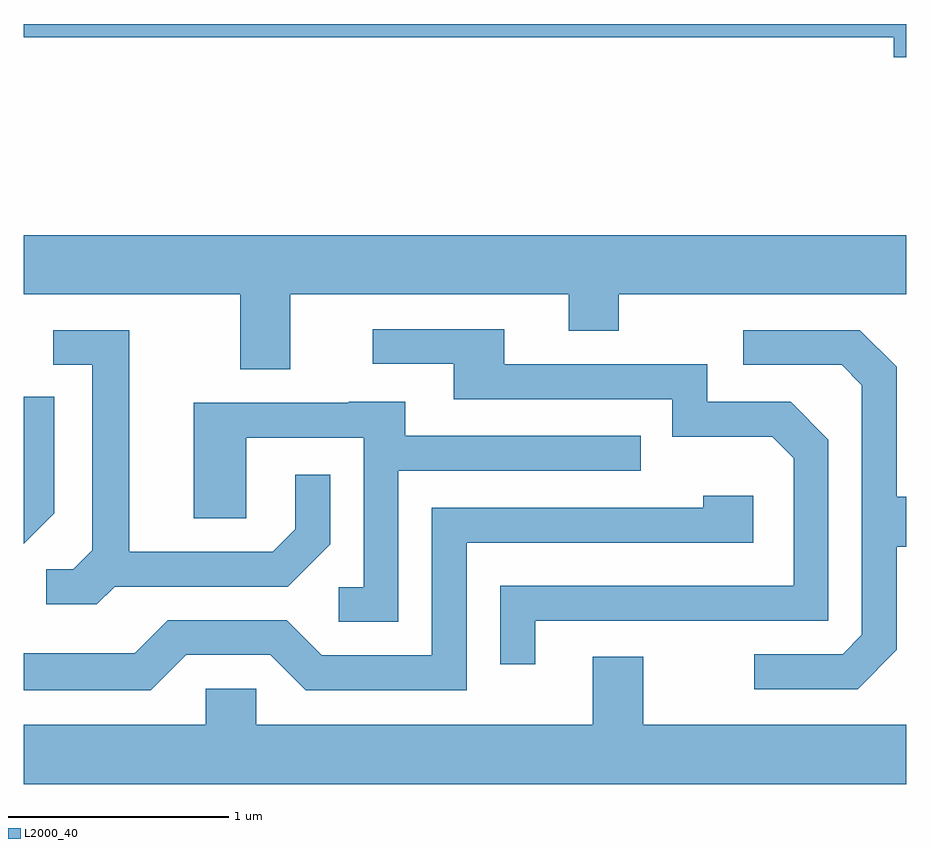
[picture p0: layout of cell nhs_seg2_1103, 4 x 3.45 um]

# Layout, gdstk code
import gdstk
lib = gdstk.Library(unit=1e-6, precision=1e-09)
def P(c, l, *ps):  # polygons
    for p in ps: c.add(gdstk.Polygon(p, *l))
L2000_40 = (2000, 40)

nhs_seg2_1103 = lib.new_cell('nhs_seg2_1103')
P(nhs_seg2_1103, L2000_40, [(221.611,1011.802),(217.611,1011.802),(217.611,1011.741),(221.556,1011.741),(221.556,1011.651),(221.611,1011.651)],
  [(218.819,1010.576),(220.081,1010.576),(220.081,1010.411),(220.309,1010.411),(220.309,1010.576),(221.611,1010.576),(221.611,1010.844),(217.611,1010.844),(217.611,1010.576),(218.591,1010.576),(218.591,1010.236),(218.819,1010.236)],
  [(219.929,1009.096),(221.259,1009.096),(221.259,1009.917),(221.087,1010.089),(220.709,1010.089),(220.709,1010.259),(219.789,1010.259),(219.789,1010.419),(219.193,1010.419),(219.193,1010.261),(219.561,1010.261),(219.561,1010.101),(220.551,1010.101),(220.551,1009.931),(221.004,1009.931),(221.101,1009.834),(221.101,1009.254),(219.771,1009.254),(219.771,1008.898),(219.929,1008.898)],
  [(221.569,1008.964),(221.569,1009.431),(221.611,1009.431),(221.611,1009.659),(221.569,1009.659),(221.569,1010.247),(221.402,1010.414),(220.873,1010.414),(220.873,1010.256),(221.319,1010.256),(221.411,1010.164),(221.411,1009.032),(221.324,1008.944),(220.923,1008.944),(220.923,1008.786),(221.392,1008.786)],
  [(218.022,1009.251),(218.807,1009.251),(218.999,1009.444),(218.999,1009.758),(218.841,1009.758),(218.841,1009.512),(218.739,1009.409),(218.089,1009.409),(218.089,1010.414),(217.743,1010.414),(217.743,1010.256),(217.921,1010.256),(217.921,1009.417),(217.834,1009.329),(217.713,1009.329),(217.713,1009.171),(217.942,1009.171)],
  [(217.749,1009.584),(217.749,1010.113),(217.611,1010.113),(217.611,1009.446)],
  [(219.309,1009.776),(220.408,1009.776),(220.408,1009.934),(219.339,1009.934),(219.339,1010.089),(219.085,1010.089),(219.085,1010.084),(218.381,1010.084),(218.381,1009.561),(218.619,1009.561),(218.619,1009.926),(219.151,1009.926),(219.151,1009.249),(219.038,1009.249),(219.038,1009.091),(219.309,1009.091)],
  [(218.347,1008.941),(218.729,1008.941),(218.889,1008.781),(219.619,1008.781),(219.619,1009.451),(220.919,1009.451),(220.919,1009.664),(220.691,1009.664),(220.691,1009.609),(219.461,1009.609),(219.461,1008.939),(218.962,1008.939),(218.802,1009.099),(218.264,1009.099),(218.114,1008.949),(217.611,1008.949),(217.611,1008.781),(218.187,1008.781)],
  [(221.611,1008.624),(220.419,1008.624),(220.419,1008.934),(220.191,1008.934),(220.191,1008.624),(218.664,1008.624),(218.664,1008.789),(218.436,1008.789),(218.436,1008.624),(217.611,1008.624),(217.611,1008.356),(221.611,1008.356)])

lib.write_gds('nhs_seg2_1103.gds')
